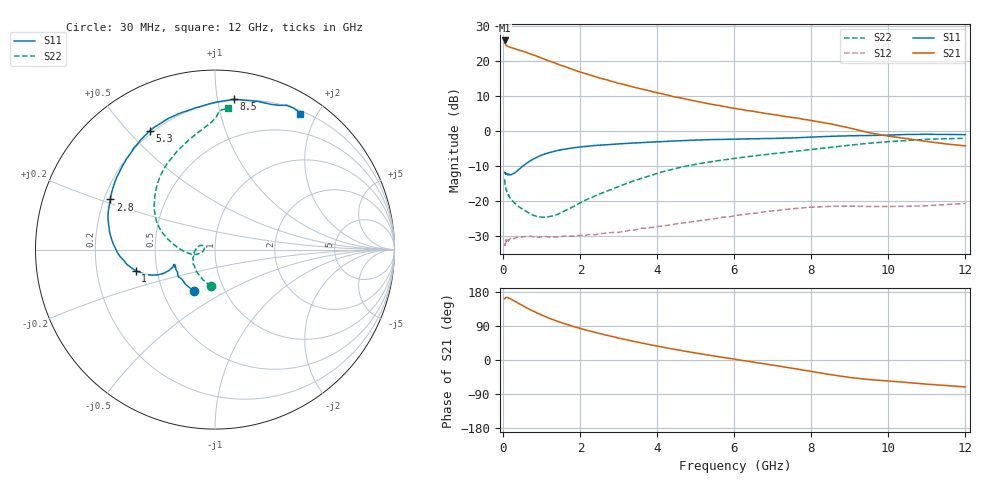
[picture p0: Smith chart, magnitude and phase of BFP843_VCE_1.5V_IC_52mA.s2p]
! Infineon Technologies  Discrete & RF Semiconductors
! BFP843
! VCE =  1.5 V,  IC =  52 mA
! Common Emitter S-Parameters:  Aug 2013
# GHz  S  MA  R  50
!  f  S11  S21  S12  S22
! GHz  MAG  ANG  MAG  ANG  MAG  ANG  MAG  ANG
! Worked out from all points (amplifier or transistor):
!   103 points, 30 MHz to 12 GHz, reference 50 ohm
!   highest |S21| = 25.8 dB at 30 MHz (marker M1)
!   |S21| within 3 dB of that: start of sweep to 484.6 MHz
!   unconditionally stable (mu >= 1): start of sweep to end of sweep
!   at 400 MHz: K = 1.28, MAG = 23.5 dB, |S12| = -30.3 dB
!   at 3.7 GHz: K = 1.69, MAG = 14.8 dB, |S12| = -27.7 dB
!   at 12 GHz: K = 1.10, MAG = 6.3 dB, |S12| = -20.6 dB
!   S11 on the Smith chart (normalised r, x): 30 MHz: 0.72, -0.36; 1 GHz: 0.38, -0.11; 2.8 GHz: 0.22, +0.22; 5.3 GHz: 0.19, +0.58; 8.5 GHz: 0.19, +1.12; 12 GHz: 0.24, +1.78
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0.03  0.2597 -116.7  19.6 161.5  0.023 35.5  0.2063 -96.4
0.04  0.2541 -130.0  18.27 162.4  0.0247 25.8  0.18 -112.5
0.05  0.2472 -138.2  17.59 164.3  0.0239 21.3  0.1634 -125.2
0.07  0.2438 -148.8  16.66 165.1  0.0264 16.7  0.1453 -142.2
0.1  0.2403 -155.5  16.3 164.9  0.0296 15.4  0.1327 -158.4
0.13  0.2406 -158.0  15.99 164.1  0.027 10.4  0.1244 -167.4
0.4  0.2846 -155.5  14.29 149.0  0.0307 8.0  0.0836 164.4
0.6  0.3484 -156.2  13.21 137.9  0.0314 6.8  0.0717 161.2
0.8  0.4065 -160.0  12.09 127.7  0.0312 6.6  0.0626 164.0
1  0.4576 -165.2  10.93 118.2  0.0313 8.0  0.0594 169.7
1.2  0.4973 -170.4  9.931 109.8  0.0309 8.9  0.0608 178.7
1.5  0.5438 -178.2  8.628 98.8  0.0315 11.4  0.0688 -171.4
1.8  0.5775 174.6  7.573 89.0  0.032 13.6  0.0833 -166.4
2.1  0.6033 168.1  6.691 80.3  0.0323 15.2  0.1024 -165.9
2.8  0.6472 154.4  5.147 62.5  0.036 19.9  0.1472 -171.8
3.3  0.674 145.5  4.358 51.0  0.0393 23.1  0.1879 -179.7
4.1  0.7088 132.8  3.434 34.7  0.0442 23.7  0.2608 168.5
5.3  0.7559 118.7  2.472 13.4  0.0549 22.7  0.3604 154.4
6.1  0.7705 111.4  2.072 0.6  0.0637 19.5  0.4159 144.6
8.5  0.8446 82.7  1.269 -38.6  0.0848 -1.5  0.5881 110.9
10.5  0.899 63.4  0.779 -59.6  0.0851 -14.3  0.7379 89.5
12  0.8918 57.9  0.617 -71.2  0.0933 -21.3  0.7899 84.7
